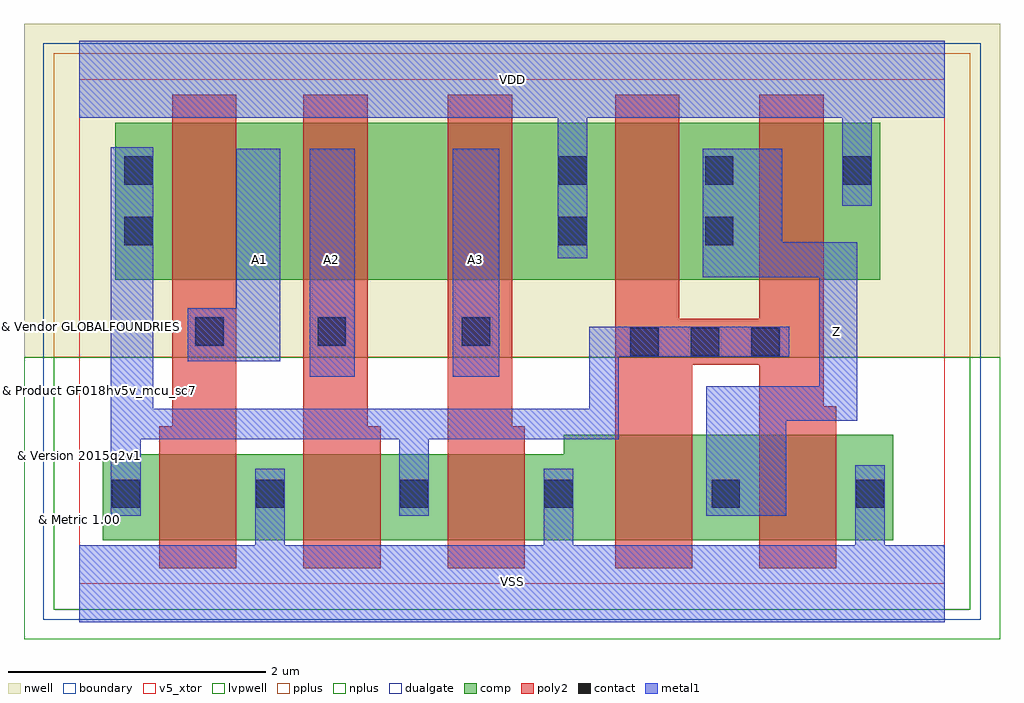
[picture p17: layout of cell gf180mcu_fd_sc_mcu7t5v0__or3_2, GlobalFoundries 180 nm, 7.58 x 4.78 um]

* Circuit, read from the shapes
.subckt gf180mcu_fd_sc_mcu7t5v0__or3_2 A1 A2 A3 VDD VSS Z
XM1 VSS A1 n1 VSUBS nfet_05v0 w=0.665u l=0.6u
XM2 n1 A2 VSS VSUBS nfet_05v0 w=0.665u l=0.6u
XM3 VSS A3 n1 VSUBS nfet_05v0 w=0.665u l=0.6u
XM4 Z n1 VSS VSUBS nfet_05v0 w=0.82u l=0.6u m=2
XM5 n2 A1 n1 n3 pfet_05v0 w=1.22u l=0.5u
XM6 n4 A2 n2 n3 pfet_05v0 w=1.22u l=0.5u
XM7 VDD A3 n4 n3 pfet_05v0 w=1.22u l=0.5u
XM8 Z n1 VDD n3 pfet_05v0 w=1.22u l=0.5u m=2
.ends

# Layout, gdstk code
import gdstk
lib = gdstk.Library(unit=1e-6, precision=1e-09)
def R(c, l, rs):  # rectangles x0, y0, x1, y1
    for r in rs: c.add(gdstk.rectangle(r[:2], r[2:], *l))
def A(c, l, x, y, w, h, nx, ny, dx, dy):  # array of equal rectangles
    R(c, l, [(x+i*dx, y+j*dy, x+i*dx+w, y+j*dy+h) for i in range(nx) for j in range(ny)])
def P(c, l, *ps):  # polygons
    for p in ps: c.add(gdstk.Polygon(p, *l))
boundary = (0, 0)
nwell = (21, 0)
comp = (22, 0)
poly2 = (30, 0)
pplus = (31, 0)
nplus = (32, 0)
contact = (33, 0)
metal1 = (34, 0)
dualgate = (55, 0)
v5_xtor = (112, 1)
lvpwell = (204, 0)

gf180mcu_fd_sc_mcu7t5v0_ = lib.new_cell('gf180mcu_fd_sc_mcu7t5v0__or3_2')
R(gf180mcu_fd_sc_mcu7t5v0_, boundary, [(0,0,6.72,3.92)])
R(gf180mcu_fd_sc_mcu7t5v0_, nwell, [(-0.43,1.76,7.15,4.35)])
R(gf180mcu_fd_sc_mcu7t5v0_, comp, [(0.28,2.36,6.22,3.58)])
P(gf180mcu_fd_sc_mcu7t5v0_, comp, [(0.18,0.34),(0.18,1.005),(3.76,1.005),(3.76,1.16),(6.32,1.16),(6.32,0.34)])
P(gf180mcu_fd_sc_mcu7t5v0_, poly2, [(0.62,0.12),(0.62,1.225),(0.72,1.225),(0.72,3.8),(1.22,3.8),(1.22,0.12)],
  [(1.74,0.12),(1.74,3.8),(2.24,3.8),(2.24,1.225),(2.34,1.225),(2.34,0.12)],
  [(2.86,0.12),(2.86,3.8),(3.36,3.8),(3.36,1.225),(3.46,1.225),(3.46,0.12)],
  [(4.16,0.12),(4.16,3.8),(4.66,3.8),(4.66,2.06),(5.28,2.06),(5.28,3.8),(5.78,3.8),(5.78,1.38),(5.88,1.38),(5.88,0.12),(5.28,0.12),(5.28,1.7),(4.76,1.7),(4.76,0.12)])
R(gf180mcu_fd_sc_mcu7t5v0_, pplus, [(-0.2,1.76,6.92,4.12)])
R(gf180mcu_fd_sc_mcu7t5v0_, nplus, [(-0.2,-0.2,6.92,1.76)])
A(gf180mcu_fd_sc_mcu7t5v0_, contact, 0.25, 0.59, 0.22, 0.22, 4, 1, 1.12, 0)
A(gf180mcu_fd_sc_mcu7t5v0_, contact, 4.28, 1.77, 0.22, 0.22, 3, 1, 0.47, 0)
R(gf180mcu_fd_sc_mcu7t5v0_, contact, [(4.91,0.59,5.13,0.81), (6.03,0.59,6.25,0.81), (0.9,1.85,1.12,2.07), (1.85,1.85,2.07,2.07), (2.97,1.85,3.19,2.07), (0.35,2.63,0.57,2.85), (3.72,2.63,3.94,2.85), (4.86,2.63,5.08,2.85), (0.35,3.1,0.57,3.32), (3.72,3.1,3.94,3.32), (4.86,3.1,5.08,3.32), (5.93,3.1,6.15,3.32)])
R(gf180mcu_fd_sc_mcu7t5v0_, metal1, [(1.79,1.61,2.14,3.38), (2.9,1.61,3.26,3.38)])
P(gf180mcu_fd_sc_mcu7t5v0_, metal1, [(0.84,1.73),(0.84,2.14),(1.22,2.14),(1.22,3.38),(1.56,3.38),(1.56,1.73)],
  [(0.245,0.53),(0.245,3.39),(0.575,3.39),(0.575,1.36),(3.96,1.36),(3.96,1.995),(5.515,1.995),(5.515,1.765),(4.19,1.765),(4.19,1.125),(2.715,1.125),(2.715,0.53),(2.485,0.53),(2.485,1.125),(0.475,1.125),(0.475,0.53)],
  [(4.87,0.53),(4.87,1.535),(5.745,1.535),(5.745,2.38),(4.84,2.38),(4.84,3.38),(5.46,3.38),(5.46,2.655),(6.04,2.655),(6.04,1.265),(5.49,1.265),(5.49,0.53)],
  [(0,-0.3),(0,0.3),(1.365,0.3),(1.365,0.895),(1.595,0.895),(1.595,0.3),(3.605,0.3),(3.605,0.895),(3.835,0.895),(3.835,0.3),(6.025,0.3),(6.025,0.92),(6.255,0.92),(6.255,0.3),(6.72,0.3),(6.72,-0.3)],
  [(3.715,2.53),(3.715,3.62),(0,3.62),(0,4.22),(6.72,4.22),(6.72,3.62),(6.155,3.62),(6.155,2.935),(5.925,2.935),(5.925,3.62),(3.945,3.62),(3.945,2.53)])
R(gf180mcu_fd_sc_mcu7t5v0_, dualgate, [(-0.28,-0.28,7,4.2)])
R(gf180mcu_fd_sc_mcu7t5v0_, v5_xtor, [(0,0,6.72,3.92)])
R(gf180mcu_fd_sc_mcu7t5v0_, lvpwell, [(-0.43,-0.43,7.15,1.76)])
gf180mcu_fd_sc_mcu7t5v0_.add(gdstk.Label('A3', (3.08,2.52), layer=34, texttype=10))
gf180mcu_fd_sc_mcu7t5v0_.add(gdstk.Label('VDD', (3.36,3.92), layer=34, texttype=10))
gf180mcu_fd_sc_mcu7t5v0_.add(gdstk.Label('VSS', (3.36,0.02), layer=34, texttype=10))
gf180mcu_fd_sc_mcu7t5v0_.add(gdstk.Label('Z', (5.88,1.96), layer=34, texttype=10))
gf180mcu_fd_sc_mcu7t5v0_.add(gdstk.Label('A1', (1.4,2.52), layer=34, texttype=10))
gf180mcu_fd_sc_mcu7t5v0_.add(gdstk.Label('A2', (1.96,2.52), layer=34, texttype=10))
gf180mcu_fd_sc_mcu7t5v0_.add(gdstk.Label('& Vendor GLOBALFOUNDRIES', (0,2), layer=63, texttype=63))
gf180mcu_fd_sc_mcu7t5v0_.add(gdstk.Label('& Product GF018hv5v_mcu_sc7', (0,1.5), layer=63, texttype=63))
gf180mcu_fd_sc_mcu7t5v0_.add(gdstk.Label('& Version 2015q2v1', (0,1), layer=63, texttype=63))
gf180mcu_fd_sc_mcu7t5v0_.add(gdstk.Label('& Metric 1.00', (0,0.5), layer=63, texttype=63))

lib.write_gds('gf180mcu_fd_sc_mcu7t5v0__or3_2.gds')
